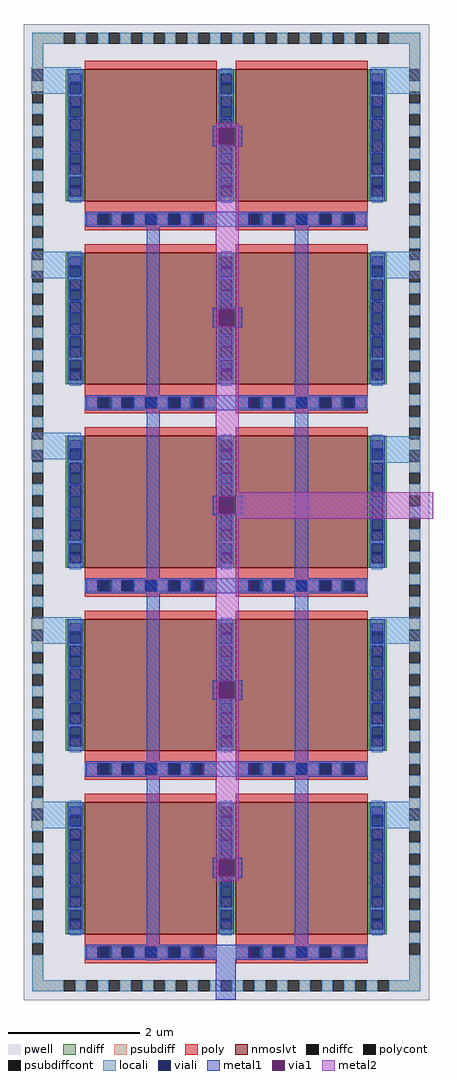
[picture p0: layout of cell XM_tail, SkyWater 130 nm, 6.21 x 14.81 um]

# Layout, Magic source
magic
tech sky130A
magscale 1 2
<< locali >>
rect -20 2710 130 2790
rect 1010 2710 1160 2790
rect -20 2150 130 2230
rect 1010 2150 1160 2230
rect -20 1600 130 1680
rect 1010 1590 1160 1670
rect -20 1040 130 1120
rect 1010 1040 1160 1120
rect -20 480 130 560
rect 1010 480 1160 560
<< metal1 >>
rect 530 2606 620 2610
rect 530 2554 549 2606
rect 601 2554 620 2606
rect 530 2550 620 2554
rect 330 80 370 2350
rect 537 2305 607 2351
rect 530 2056 620 2060
rect 530 2004 549 2056
rect 601 2004 620 2056
rect 530 2000 620 2004
rect 537 1749 607 1795
rect 530 1486 620 1490
rect 530 1434 549 1486
rect 601 1434 620 1486
rect 530 1430 620 1434
rect 537 1193 607 1239
rect 530 926 620 930
rect 530 874 549 926
rect 601 874 620 926
rect 530 870 620 874
rect 537 637 607 683
rect 530 386 620 390
rect 530 334 549 386
rect 601 334 620 386
rect 530 330 620 334
rect 537 81 607 127
rect 540 -40 600 81
rect 780 80 820 2350
<< via1 >>
rect 549 2554 601 2606
rect 549 2004 601 2056
rect 549 1434 601 1486
rect 549 874 601 926
rect 549 334 601 386
<< metal2 >>
rect 540 2606 610 2620
rect 540 2554 549 2606
rect 601 2554 610 2606
rect 540 2056 610 2554
rect 540 2004 549 2056
rect 601 2004 610 2056
rect 540 1500 610 2004
rect 540 1486 1200 1500
rect 540 1434 549 1486
rect 601 1434 1200 1486
rect 540 1420 1200 1434
rect 540 926 610 1420
rect 540 874 549 926
rect 601 874 610 926
rect 540 386 610 874
rect 540 334 549 386
rect 601 334 610 386
rect 540 320 610 334
use sky130_fd_pr__nfet_01v8_lvt_7MFZYU  sky130_fd_pr__nfet_01v8_lvt_7MFZYU_0
transform 1 0 572 0 1 1440
box -615 -1481 615 1481
<< end >>

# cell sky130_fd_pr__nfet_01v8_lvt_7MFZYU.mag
magic
tech sky130A
magscale 1 2
<< pwell >>
rect -615 -1481 615 1481
<< nmoslvt >>
rect -429 943 -29 1343
rect 29 943 429 1343
rect -429 387 -29 787
rect 29 387 429 787
rect -429 -169 -29 231
rect 29 -169 429 231
rect -429 -725 -29 -325
rect 29 -725 429 -325
rect -429 -1281 -29 -881
rect 29 -1281 429 -881
<< ndiff >>
rect -487 1330 -429 1343
rect -487 1296 -475 1330
rect -441 1296 -429 1330
rect -487 1262 -429 1296
rect -487 1228 -475 1262
rect -441 1228 -429 1262
rect -487 1194 -429 1228
rect -487 1160 -475 1194
rect -441 1160 -429 1194
rect -487 1126 -429 1160
rect -487 1092 -475 1126
rect -441 1092 -429 1126
rect -487 1058 -429 1092
rect -487 1024 -475 1058
rect -441 1024 -429 1058
rect -487 990 -429 1024
rect -487 956 -475 990
rect -441 956 -429 990
rect -487 943 -429 956
rect -29 1330 29 1343
rect -29 1296 -17 1330
rect 17 1296 29 1330
rect -29 1262 29 1296
rect -29 1228 -17 1262
rect 17 1228 29 1262
rect -29 1194 29 1228
rect -29 1160 -17 1194
rect 17 1160 29 1194
rect -29 1126 29 1160
rect -29 1092 -17 1126
rect 17 1092 29 1126
rect -29 1058 29 1092
rect -29 1024 -17 1058
rect 17 1024 29 1058
rect -29 990 29 1024
rect -29 956 -17 990
rect 17 956 29 990
rect -29 943 29 956
rect 429 1330 487 1343
rect 429 1296 441 1330
rect 475 1296 487 1330
rect 429 1262 487 1296
rect 429 1228 441 1262
rect 475 1228 487 1262
rect 429 1194 487 1228
rect 429 1160 441 1194
rect 475 1160 487 1194
rect 429 1126 487 1160
rect 429 1092 441 1126
rect 475 1092 487 1126
rect 429 1058 487 1092
rect 429 1024 441 1058
rect 475 1024 487 1058
rect 429 990 487 1024
rect 429 956 441 990
rect 475 956 487 990
rect 429 943 487 956
rect -487 774 -429 787
rect -487 740 -475 774
rect -441 740 -429 774
rect -487 706 -429 740
rect -487 672 -475 706
rect -441 672 -429 706
rect -487 638 -429 672
rect -487 604 -475 638
rect -441 604 -429 638
rect -487 570 -429 604
rect -487 536 -475 570
rect -441 536 -429 570
rect -487 502 -429 536
rect -487 468 -475 502
rect -441 468 -429 502
rect -487 434 -429 468
rect -487 400 -475 434
rect -441 400 -429 434
rect -487 387 -429 400
rect -29 774 29 787
rect -29 740 -17 774
rect 17 740 29 774
rect -29 706 29 740
rect -29 672 -17 706
rect 17 672 29 706
rect -29 638 29 672
rect -29 604 -17 638
rect 17 604 29 638
rect -29 570 29 604
rect -29 536 -17 570
rect 17 536 29 570
rect -29 502 29 536
rect -29 468 -17 502
rect 17 468 29 502
rect -29 434 29 468
rect -29 400 -17 434
rect 17 400 29 434
rect -29 387 29 400
rect 429 774 487 787
rect 429 740 441 774
rect 475 740 487 774
rect 429 706 487 740
rect 429 672 441 706
rect 475 672 487 706
rect 429 638 487 672
rect 429 604 441 638
rect 475 604 487 638
rect 429 570 487 604
rect 429 536 441 570
rect 475 536 487 570
rect 429 502 487 536
rect 429 468 441 502
rect 475 468 487 502
rect 429 434 487 468
rect 429 400 441 434
rect 475 400 487 434
rect 429 387 487 400
rect -487 218 -429 231
rect -487 184 -475 218
rect -441 184 -429 218
rect -487 150 -429 184
rect -487 116 -475 150
rect -441 116 -429 150
rect -487 82 -429 116
rect -487 48 -475 82
rect -441 48 -429 82
rect -487 14 -429 48
rect -487 -20 -475 14
rect -441 -20 -429 14
rect -487 -54 -429 -20
rect -487 -88 -475 -54
rect -441 -88 -429 -54
rect -487 -122 -429 -88
rect -487 -156 -475 -122
rect -441 -156 -429 -122
rect -487 -169 -429 -156
rect -29 218 29 231
rect -29 184 -17 218
rect 17 184 29 218
rect -29 150 29 184
rect -29 116 -17 150
rect 17 116 29 150
rect -29 82 29 116
rect -29 48 -17 82
rect 17 48 29 82
rect -29 14 29 48
rect -29 -20 -17 14
rect 17 -20 29 14
rect -29 -54 29 -20
rect -29 -88 -17 -54
rect 17 -88 29 -54
rect -29 -122 29 -88
rect -29 -156 -17 -122
rect 17 -156 29 -122
rect -29 -169 29 -156
rect 429 218 487 231
rect 429 184 441 218
rect 475 184 487 218
rect 429 150 487 184
rect 429 116 441 150
rect 475 116 487 150
rect 429 82 487 116
rect 429 48 441 82
rect 475 48 487 82
rect 429 14 487 48
rect 429 -20 441 14
rect 475 -20 487 14
rect 429 -54 487 -20
rect 429 -88 441 -54
rect 475 -88 487 -54
rect 429 -122 487 -88
rect 429 -156 441 -122
rect 475 -156 487 -122
rect 429 -169 487 -156
rect -487 -338 -429 -325
rect -487 -372 -475 -338
rect -441 -372 -429 -338
rect -487 -406 -429 -372
rect -487 -440 -475 -406
rect -441 -440 -429 -406
rect -487 -474 -429 -440
rect -487 -508 -475 -474
rect -441 -508 -429 -474
rect -487 -542 -429 -508
rect -487 -576 -475 -542
rect -441 -576 -429 -542
rect -487 -610 -429 -576
rect -487 -644 -475 -610
rect -441 -644 -429 -610
rect -487 -678 -429 -644
rect -487 -712 -475 -678
rect -441 -712 -429 -678
rect -487 -725 -429 -712
rect -29 -338 29 -325
rect -29 -372 -17 -338
rect 17 -372 29 -338
rect -29 -406 29 -372
rect -29 -440 -17 -406
rect 17 -440 29 -406
rect -29 -474 29 -440
rect -29 -508 -17 -474
rect 17 -508 29 -474
rect -29 -542 29 -508
rect -29 -576 -17 -542
rect 17 -576 29 -542
rect -29 -610 29 -576
rect -29 -644 -17 -610
rect 17 -644 29 -610
rect -29 -678 29 -644
rect -29 -712 -17 -678
rect 17 -712 29 -678
rect -29 -725 29 -712
rect 429 -338 487 -325
rect 429 -372 441 -338
rect 475 -372 487 -338
rect 429 -406 487 -372
rect 429 -440 441 -406
rect 475 -440 487 -406
rect 429 -474 487 -440
rect 429 -508 441 -474
rect 475 -508 487 -474
rect 429 -542 487 -508
rect 429 -576 441 -542
rect 475 -576 487 -542
rect 429 -610 487 -576
rect 429 -644 441 -610
rect 475 -644 487 -610
rect 429 -678 487 -644
rect 429 -712 441 -678
rect 475 -712 487 -678
rect 429 -725 487 -712
rect -487 -894 -429 -881
rect -487 -928 -475 -894
rect -441 -928 -429 -894
rect -487 -962 -429 -928
rect -487 -996 -475 -962
rect -441 -996 -429 -962
rect -487 -1030 -429 -996
rect -487 -1064 -475 -1030
rect -441 -1064 -429 -1030
rect -487 -1098 -429 -1064
rect -487 -1132 -475 -1098
rect -441 -1132 -429 -1098
rect -487 -1166 -429 -1132
rect -487 -1200 -475 -1166
rect -441 -1200 -429 -1166
rect -487 -1234 -429 -1200
rect -487 -1268 -475 -1234
rect -441 -1268 -429 -1234
rect -487 -1281 -429 -1268
rect -29 -894 29 -881
rect -29 -928 -17 -894
rect 17 -928 29 -894
rect -29 -962 29 -928
rect -29 -996 -17 -962
rect 17 -996 29 -962
rect -29 -1030 29 -996
rect -29 -1064 -17 -1030
rect 17 -1064 29 -1030
rect -29 -1098 29 -1064
rect -29 -1132 -17 -1098
rect 17 -1132 29 -1098
rect -29 -1166 29 -1132
rect -29 -1200 -17 -1166
rect 17 -1200 29 -1166
rect -29 -1234 29 -1200
rect -29 -1268 -17 -1234
rect 17 -1268 29 -1234
rect -29 -1281 29 -1268
rect 429 -894 487 -881
rect 429 -928 441 -894
rect 475 -928 487 -894
rect 429 -962 487 -928
rect 429 -996 441 -962
rect 475 -996 487 -962
rect 429 -1030 487 -996
rect 429 -1064 441 -1030
rect 475 -1064 487 -1030
rect 429 -1098 487 -1064
rect 429 -1132 441 -1098
rect 475 -1132 487 -1098
rect 429 -1166 487 -1132
rect 429 -1200 441 -1166
rect 475 -1200 487 -1166
rect 429 -1234 487 -1200
rect 429 -1268 441 -1234
rect 475 -1268 487 -1234
rect 429 -1281 487 -1268
<< ndiffc >>
rect -475 1296 -441 1330
rect -475 1228 -441 1262
rect -475 1160 -441 1194
rect -475 1092 -441 1126
rect -475 1024 -441 1058
rect -475 956 -441 990
rect -17 1296 17 1330
rect -17 1228 17 1262
rect -17 1160 17 1194
rect -17 1092 17 1126
rect -17 1024 17 1058
rect -17 956 17 990
rect 441 1296 475 1330
rect 441 1228 475 1262
rect 441 1160 475 1194
rect 441 1092 475 1126
rect 441 1024 475 1058
rect 441 956 475 990
rect -475 740 -441 774
rect -475 672 -441 706
rect -475 604 -441 638
rect -475 536 -441 570
rect -475 468 -441 502
rect -475 400 -441 434
rect -17 740 17 774
rect -17 672 17 706
rect -17 604 17 638
rect -17 536 17 570
rect -17 468 17 502
rect -17 400 17 434
rect 441 740 475 774
rect 441 672 475 706
rect 441 604 475 638
rect 441 536 475 570
rect 441 468 475 502
rect 441 400 475 434
rect -475 184 -441 218
rect -475 116 -441 150
rect -475 48 -441 82
rect -475 -20 -441 14
rect -475 -88 -441 -54
rect -475 -156 -441 -122
rect -17 184 17 218
rect -17 116 17 150
rect -17 48 17 82
rect -17 -20 17 14
rect -17 -88 17 -54
rect -17 -156 17 -122
rect 441 184 475 218
rect 441 116 475 150
rect 441 48 475 82
rect 441 -20 475 14
rect 441 -88 475 -54
rect 441 -156 475 -122
rect -475 -372 -441 -338
rect -475 -440 -441 -406
rect -475 -508 -441 -474
rect -475 -576 -441 -542
rect -475 -644 -441 -610
rect -475 -712 -441 -678
rect -17 -372 17 -338
rect -17 -440 17 -406
rect -17 -508 17 -474
rect -17 -576 17 -542
rect -17 -644 17 -610
rect -17 -712 17 -678
rect 441 -372 475 -338
rect 441 -440 475 -406
rect 441 -508 475 -474
rect 441 -576 475 -542
rect 441 -644 475 -610
rect 441 -712 475 -678
rect -475 -928 -441 -894
rect -475 -996 -441 -962
rect -475 -1064 -441 -1030
rect -475 -1132 -441 -1098
rect -475 -1200 -441 -1166
rect -475 -1268 -441 -1234
rect -17 -928 17 -894
rect -17 -996 17 -962
rect -17 -1064 17 -1030
rect -17 -1132 17 -1098
rect -17 -1200 17 -1166
rect -17 -1268 17 -1234
rect 441 -928 475 -894
rect 441 -996 475 -962
rect 441 -1064 475 -1030
rect 441 -1132 475 -1098
rect 441 -1200 475 -1166
rect 441 -1268 475 -1234
<< psubdiff >>
rect -589 1421 -493 1455
rect -459 1421 -425 1455
rect -391 1421 -357 1455
rect -323 1421 -289 1455
rect -255 1421 -221 1455
rect -187 1421 -153 1455
rect -119 1421 -85 1455
rect -51 1421 -17 1455
rect 17 1421 51 1455
rect 85 1421 119 1455
rect 153 1421 187 1455
rect 221 1421 255 1455
rect 289 1421 323 1455
rect 357 1421 391 1455
rect 425 1421 459 1455
rect 493 1421 589 1455
rect -589 1343 -555 1421
rect 555 1343 589 1421
rect -589 1275 -555 1309
rect -589 1207 -555 1241
rect -589 1139 -555 1173
rect -589 1071 -555 1105
rect -589 1003 -555 1037
rect -589 935 -555 969
rect 555 1275 589 1309
rect 555 1207 589 1241
rect 555 1139 589 1173
rect 555 1071 589 1105
rect 555 1003 589 1037
rect -589 867 -555 901
rect 555 935 589 969
rect 555 867 589 901
rect -589 799 -555 833
rect 555 799 589 833
rect -589 731 -555 765
rect -589 663 -555 697
rect -589 595 -555 629
rect -589 527 -555 561
rect -589 459 -555 493
rect -589 391 -555 425
rect 555 731 589 765
rect 555 663 589 697
rect 555 595 589 629
rect 555 527 589 561
rect 555 459 589 493
rect 555 391 589 425
rect -589 323 -555 357
rect 555 323 589 357
rect -589 255 -555 289
rect 555 255 589 289
rect -589 187 -555 221
rect -589 119 -555 153
rect -589 51 -555 85
rect -589 -17 -555 17
rect -589 -85 -555 -51
rect -589 -153 -555 -119
rect 555 187 589 221
rect 555 119 589 153
rect 555 51 589 85
rect 555 -17 589 17
rect 555 -85 589 -51
rect 555 -153 589 -119
rect -589 -221 -555 -187
rect -589 -289 -555 -255
rect 555 -221 589 -187
rect 555 -289 589 -255
rect -589 -357 -555 -323
rect -589 -425 -555 -391
rect -589 -493 -555 -459
rect -589 -561 -555 -527
rect -589 -629 -555 -595
rect -589 -697 -555 -663
rect 555 -357 589 -323
rect 555 -425 589 -391
rect 555 -493 589 -459
rect 555 -561 589 -527
rect 555 -629 589 -595
rect 555 -697 589 -663
rect -589 -765 -555 -731
rect -589 -833 -555 -799
rect 555 -765 589 -731
rect 555 -833 589 -799
rect -589 -901 -555 -867
rect -589 -969 -555 -935
rect -589 -1037 -555 -1003
rect -589 -1105 -555 -1071
rect -589 -1173 -555 -1139
rect -589 -1241 -555 -1207
rect -589 -1309 -555 -1275
rect 555 -901 589 -867
rect 555 -969 589 -935
rect 555 -1037 589 -1003
rect 555 -1105 589 -1071
rect 555 -1173 589 -1139
rect 555 -1241 589 -1207
rect -589 -1421 -555 -1343
rect 555 -1309 589 -1275
rect 555 -1421 589 -1343
rect -589 -1455 -493 -1421
rect -459 -1455 -425 -1421
rect -391 -1455 -357 -1421
rect -323 -1455 -289 -1421
rect -255 -1455 -221 -1421
rect -187 -1455 -153 -1421
rect -119 -1455 -85 -1421
rect -51 -1455 -17 -1421
rect 17 -1455 51 -1421
rect 85 -1455 119 -1421
rect 153 -1455 187 -1421
rect 221 -1455 255 -1421
rect 289 -1455 323 -1421
rect 357 -1455 391 -1421
rect 425 -1455 459 -1421
rect 493 -1455 589 -1421
<< psubdiffcont >>
rect -493 1421 -459 1455
rect -425 1421 -391 1455
rect -357 1421 -323 1455
rect -289 1421 -255 1455
rect -221 1421 -187 1455
rect -153 1421 -119 1455
rect -85 1421 -51 1455
rect -17 1421 17 1455
rect 51 1421 85 1455
rect 119 1421 153 1455
rect 187 1421 221 1455
rect 255 1421 289 1455
rect 323 1421 357 1455
rect 391 1421 425 1455
rect 459 1421 493 1455
rect -589 1309 -555 1343
rect -589 1241 -555 1275
rect -589 1173 -555 1207
rect -589 1105 -555 1139
rect -589 1037 -555 1071
rect -589 969 -555 1003
rect 555 1309 589 1343
rect 555 1241 589 1275
rect 555 1173 589 1207
rect 555 1105 589 1139
rect 555 1037 589 1071
rect 555 969 589 1003
rect -589 901 -555 935
rect -589 833 -555 867
rect 555 901 589 935
rect 555 833 589 867
rect -589 765 -555 799
rect -589 697 -555 731
rect -589 629 -555 663
rect -589 561 -555 595
rect -589 493 -555 527
rect -589 425 -555 459
rect -589 357 -555 391
rect 555 765 589 799
rect 555 697 589 731
rect 555 629 589 663
rect 555 561 589 595
rect 555 493 589 527
rect 555 425 589 459
rect -589 289 -555 323
rect 555 357 589 391
rect 555 289 589 323
rect -589 221 -555 255
rect -589 153 -555 187
rect -589 85 -555 119
rect -589 17 -555 51
rect -589 -51 -555 -17
rect -589 -119 -555 -85
rect -589 -187 -555 -153
rect 555 221 589 255
rect 555 153 589 187
rect 555 85 589 119
rect 555 17 589 51
rect 555 -51 589 -17
rect 555 -119 589 -85
rect -589 -255 -555 -221
rect 555 -187 589 -153
rect 555 -255 589 -221
rect -589 -323 -555 -289
rect 555 -323 589 -289
rect -589 -391 -555 -357
rect -589 -459 -555 -425
rect -589 -527 -555 -493
rect -589 -595 -555 -561
rect -589 -663 -555 -629
rect -589 -731 -555 -697
rect 555 -391 589 -357
rect 555 -459 589 -425
rect 555 -527 589 -493
rect 555 -595 589 -561
rect 555 -663 589 -629
rect -589 -799 -555 -765
rect 555 -731 589 -697
rect 555 -799 589 -765
rect -589 -867 -555 -833
rect 555 -867 589 -833
rect -589 -935 -555 -901
rect -589 -1003 -555 -969
rect -589 -1071 -555 -1037
rect -589 -1139 -555 -1105
rect -589 -1207 -555 -1173
rect -589 -1275 -555 -1241
rect 555 -935 589 -901
rect 555 -1003 589 -969
rect 555 -1071 589 -1037
rect 555 -1139 589 -1105
rect 555 -1207 589 -1173
rect 555 -1275 589 -1241
rect -589 -1343 -555 -1309
rect 555 -1343 589 -1309
rect -493 -1455 -459 -1421
rect -425 -1455 -391 -1421
rect -357 -1455 -323 -1421
rect -289 -1455 -255 -1421
rect -221 -1455 -187 -1421
rect -153 -1455 -119 -1421
rect -85 -1455 -51 -1421
rect -17 -1455 17 -1421
rect 51 -1455 85 -1421
rect 119 -1455 153 -1421
rect 187 -1455 221 -1421
rect 255 -1455 289 -1421
rect 323 -1455 357 -1421
rect 391 -1455 425 -1421
rect 459 -1455 493 -1421
<< poly >>
rect -429 1343 -29 1369
rect 29 1343 429 1369
rect -429 905 -29 943
rect -429 871 -382 905
rect -348 871 -314 905
rect -280 871 -246 905
rect -212 871 -178 905
rect -144 871 -110 905
rect -76 871 -29 905
rect -429 855 -29 871
rect 29 905 429 943
rect 29 871 76 905
rect 110 871 144 905
rect 178 871 212 905
rect 246 871 280 905
rect 314 871 348 905
rect 382 871 429 905
rect 29 855 429 871
rect -429 787 -29 813
rect 29 787 429 813
rect -429 349 -29 387
rect -429 315 -382 349
rect -348 315 -314 349
rect -280 315 -246 349
rect -212 315 -178 349
rect -144 315 -110 349
rect -76 315 -29 349
rect -429 299 -29 315
rect 29 349 429 387
rect 29 315 76 349
rect 110 315 144 349
rect 178 315 212 349
rect 246 315 280 349
rect 314 315 348 349
rect 382 315 429 349
rect 29 299 429 315
rect -429 231 -29 257
rect 29 231 429 257
rect -429 -207 -29 -169
rect -429 -241 -382 -207
rect -348 -241 -314 -207
rect -280 -241 -246 -207
rect -212 -241 -178 -207
rect -144 -241 -110 -207
rect -76 -241 -29 -207
rect -429 -257 -29 -241
rect 29 -207 429 -169
rect 29 -241 76 -207
rect 110 -241 144 -207
rect 178 -241 212 -207
rect 246 -241 280 -207
rect 314 -241 348 -207
rect 382 -241 429 -207
rect 29 -257 429 -241
rect -429 -325 -29 -299
rect 29 -325 429 -299
rect -429 -763 -29 -725
rect -429 -797 -382 -763
rect -348 -797 -314 -763
rect -280 -797 -246 -763
rect -212 -797 -178 -763
rect -144 -797 -110 -763
rect -76 -797 -29 -763
rect -429 -813 -29 -797
rect 29 -763 429 -725
rect 29 -797 76 -763
rect 110 -797 144 -763
rect 178 -797 212 -763
rect 246 -797 280 -763
rect 314 -797 348 -763
rect 382 -797 429 -763
rect 29 -813 429 -797
rect -429 -881 -29 -855
rect 29 -881 429 -855
rect -429 -1319 -29 -1281
rect -429 -1353 -382 -1319
rect -348 -1353 -314 -1319
rect -280 -1353 -246 -1319
rect -212 -1353 -178 -1319
rect -144 -1353 -110 -1319
rect -76 -1353 -29 -1319
rect -429 -1369 -29 -1353
rect 29 -1319 429 -1281
rect 29 -1353 76 -1319
rect 110 -1353 144 -1319
rect 178 -1353 212 -1319
rect 246 -1353 280 -1319
rect 314 -1353 348 -1319
rect 382 -1353 429 -1319
rect 29 -1369 429 -1353
<< polycont >>
rect -382 871 -348 905
rect -314 871 -280 905
rect -246 871 -212 905
rect -178 871 -144 905
rect -110 871 -76 905
rect 76 871 110 905
rect 144 871 178 905
rect 212 871 246 905
rect 280 871 314 905
rect 348 871 382 905
rect -382 315 -348 349
rect -314 315 -280 349
rect -246 315 -212 349
rect -178 315 -144 349
rect -110 315 -76 349
rect 76 315 110 349
rect 144 315 178 349
rect 212 315 246 349
rect 280 315 314 349
rect 348 315 382 349
rect -382 -241 -348 -207
rect -314 -241 -280 -207
rect -246 -241 -212 -207
rect -178 -241 -144 -207
rect -110 -241 -76 -207
rect 76 -241 110 -207
rect 144 -241 178 -207
rect 212 -241 246 -207
rect 280 -241 314 -207
rect 348 -241 382 -207
rect -382 -797 -348 -763
rect -314 -797 -280 -763
rect -246 -797 -212 -763
rect -178 -797 -144 -763
rect -110 -797 -76 -763
rect 76 -797 110 -763
rect 144 -797 178 -763
rect 212 -797 246 -763
rect 280 -797 314 -763
rect 348 -797 382 -763
rect -382 -1353 -348 -1319
rect -314 -1353 -280 -1319
rect -246 -1353 -212 -1319
rect -178 -1353 -144 -1319
rect -110 -1353 -76 -1319
rect 76 -1353 110 -1319
rect 144 -1353 178 -1319
rect 212 -1353 246 -1319
rect 280 -1353 314 -1319
rect 348 -1353 382 -1319
<< locali >>
rect -589 1421 -493 1455
rect -459 1421 -425 1455
rect -391 1421 -357 1455
rect -323 1421 -289 1455
rect -255 1421 -221 1455
rect -187 1421 -153 1455
rect -119 1421 -85 1455
rect -51 1421 -17 1455
rect 17 1421 51 1455
rect 85 1421 119 1455
rect 153 1421 187 1455
rect 221 1421 255 1455
rect 289 1421 323 1455
rect 357 1421 391 1455
rect 425 1421 459 1455
rect 493 1421 589 1455
rect -589 1343 -555 1421
rect -589 1275 -555 1309
rect -589 1207 -555 1241
rect -589 1139 -555 1173
rect -589 1071 -555 1105
rect -589 1003 -555 1037
rect -589 935 -555 969
rect -475 1330 -441 1347
rect -475 1262 -441 1270
rect -475 1194 -441 1198
rect -475 1088 -441 1092
rect -475 1016 -441 1024
rect -475 939 -441 956
rect -17 1330 17 1347
rect -17 1262 17 1270
rect -17 1194 17 1198
rect -17 1088 17 1092
rect -17 1016 17 1024
rect -17 939 17 956
rect 441 1330 475 1347
rect 441 1262 475 1270
rect 441 1194 475 1198
rect 441 1088 475 1092
rect 441 1016 475 1024
rect 441 939 475 956
rect 555 1343 589 1421
rect 555 1275 589 1309
rect 555 1207 589 1241
rect 555 1139 589 1173
rect 555 1071 589 1105
rect 555 1003 589 1037
rect 555 935 589 969
rect -589 867 -555 901
rect -429 871 -390 905
rect -348 871 -318 905
rect -280 871 -246 905
rect -212 871 -178 905
rect -140 871 -110 905
rect -68 871 -29 905
rect 29 871 68 905
rect 110 871 140 905
rect 178 871 212 905
rect 246 871 280 905
rect 318 871 348 905
rect 390 871 429 905
rect -589 799 -555 833
rect 555 867 589 901
rect 555 799 589 833
rect -589 731 -555 765
rect -589 663 -555 697
rect -589 595 -555 629
rect -589 527 -555 561
rect -589 459 -555 493
rect -589 391 -555 425
rect -475 774 -441 791
rect -475 706 -441 714
rect -475 638 -441 642
rect -475 532 -441 536
rect -475 460 -441 468
rect -475 383 -441 400
rect -17 774 17 791
rect -17 706 17 714
rect -17 638 17 642
rect -17 532 17 536
rect -17 460 17 468
rect -17 383 17 400
rect 441 774 475 791
rect 441 706 475 714
rect 441 638 475 642
rect 441 532 475 536
rect 441 460 475 468
rect 441 383 475 400
rect 555 731 589 765
rect 555 663 589 697
rect 555 595 589 629
rect 555 527 589 561
rect 555 459 589 493
rect 555 391 589 425
rect -589 323 -555 357
rect -429 315 -390 349
rect -348 315 -318 349
rect -280 315 -246 349
rect -212 315 -178 349
rect -140 315 -110 349
rect -68 315 -29 349
rect 29 315 68 349
rect 110 315 140 349
rect 178 315 212 349
rect 246 315 280 349
rect 318 315 348 349
rect 390 315 429 349
rect 555 323 589 357
rect -589 255 -555 289
rect 555 255 589 289
rect -589 187 -555 221
rect -589 119 -555 153
rect -589 51 -555 85
rect -589 -17 -555 17
rect -589 -85 -555 -51
rect -589 -153 -555 -119
rect -475 218 -441 235
rect -475 150 -441 158
rect -475 82 -441 86
rect -475 -24 -441 -20
rect -475 -96 -441 -88
rect -475 -173 -441 -156
rect -17 218 17 235
rect -17 150 17 158
rect -17 82 17 86
rect -17 -24 17 -20
rect -17 -96 17 -88
rect -17 -173 17 -156
rect 441 218 475 235
rect 441 150 475 158
rect 441 82 475 86
rect 441 -24 475 -20
rect 441 -96 475 -88
rect 441 -173 475 -156
rect 555 187 589 221
rect 555 119 589 153
rect 555 51 589 85
rect 555 -17 589 17
rect 555 -85 589 -51
rect 555 -153 589 -119
rect -589 -221 -555 -187
rect -429 -241 -390 -207
rect -348 -241 -318 -207
rect -280 -241 -246 -207
rect -212 -241 -178 -207
rect -140 -241 -110 -207
rect -68 -241 -29 -207
rect 29 -241 68 -207
rect 110 -241 140 -207
rect 178 -241 212 -207
rect 246 -241 280 -207
rect 318 -241 348 -207
rect 390 -241 429 -207
rect 555 -221 589 -187
rect -589 -289 -555 -255
rect 555 -289 589 -255
rect -589 -357 -555 -323
rect -589 -425 -555 -391
rect -589 -493 -555 -459
rect -589 -561 -555 -527
rect -589 -629 -555 -595
rect -589 -697 -555 -663
rect -475 -338 -441 -321
rect -475 -406 -441 -398
rect -475 -474 -441 -470
rect -475 -580 -441 -576
rect -475 -652 -441 -644
rect -475 -729 -441 -712
rect -17 -338 17 -321
rect -17 -406 17 -398
rect -17 -474 17 -470
rect -17 -580 17 -576
rect -17 -652 17 -644
rect -17 -729 17 -712
rect 441 -338 475 -321
rect 441 -406 475 -398
rect 441 -474 475 -470
rect 441 -580 475 -576
rect 441 -652 475 -644
rect 441 -729 475 -712
rect 555 -357 589 -323
rect 555 -425 589 -391
rect 555 -493 589 -459
rect 555 -561 589 -527
rect 555 -629 589 -595
rect 555 -697 589 -663
rect -589 -765 -555 -731
rect -429 -797 -390 -763
rect -348 -797 -318 -763
rect -280 -797 -246 -763
rect -212 -797 -178 -763
rect -140 -797 -110 -763
rect -68 -797 -29 -763
rect 29 -797 68 -763
rect 110 -797 140 -763
rect 178 -797 212 -763
rect 246 -797 280 -763
rect 318 -797 348 -763
rect 390 -797 429 -763
rect 555 -765 589 -731
rect -589 -833 -555 -799
rect -589 -901 -555 -867
rect 555 -833 589 -799
rect -589 -969 -555 -935
rect -589 -1037 -555 -1003
rect -589 -1105 -555 -1071
rect -589 -1173 -555 -1139
rect -589 -1241 -555 -1207
rect -589 -1309 -555 -1275
rect -475 -894 -441 -877
rect -475 -962 -441 -954
rect -475 -1030 -441 -1026
rect -475 -1136 -441 -1132
rect -475 -1208 -441 -1200
rect -475 -1285 -441 -1268
rect -17 -894 17 -877
rect -17 -962 17 -954
rect -17 -1030 17 -1026
rect -17 -1136 17 -1132
rect -17 -1208 17 -1200
rect -17 -1285 17 -1268
rect 441 -894 475 -877
rect 441 -962 475 -954
rect 441 -1030 475 -1026
rect 441 -1136 475 -1132
rect 441 -1208 475 -1200
rect 441 -1285 475 -1268
rect 555 -901 589 -867
rect 555 -969 589 -935
rect 555 -1037 589 -1003
rect 555 -1105 589 -1071
rect 555 -1173 589 -1139
rect 555 -1241 589 -1207
rect 555 -1309 589 -1275
rect -589 -1421 -555 -1343
rect -429 -1353 -390 -1319
rect -348 -1353 -318 -1319
rect -280 -1353 -246 -1319
rect -212 -1353 -178 -1319
rect -140 -1353 -110 -1319
rect -68 -1353 -29 -1319
rect 29 -1353 68 -1319
rect 110 -1353 140 -1319
rect 178 -1353 212 -1319
rect 246 -1353 280 -1319
rect 318 -1353 348 -1319
rect 390 -1353 429 -1319
rect 555 -1421 589 -1343
rect -589 -1455 -493 -1421
rect -459 -1455 -425 -1421
rect -391 -1455 -357 -1421
rect -323 -1455 -289 -1421
rect -255 -1455 -221 -1421
rect -187 -1455 -153 -1421
rect -119 -1455 -85 -1421
rect -51 -1455 -17 -1421
rect 17 -1455 51 -1421
rect 85 -1455 119 -1421
rect 153 -1455 187 -1421
rect 221 -1455 255 -1421
rect 289 -1455 323 -1421
rect 357 -1455 391 -1421
rect 425 -1455 459 -1421
rect 493 -1455 589 -1421
<< viali >>
rect -475 1296 -441 1304
rect -475 1270 -441 1296
rect -475 1228 -441 1232
rect -475 1198 -441 1228
rect -475 1126 -441 1160
rect -475 1058 -441 1088
rect -475 1054 -441 1058
rect -475 990 -441 1016
rect -475 982 -441 990
rect -17 1296 17 1304
rect -17 1270 17 1296
rect -17 1228 17 1232
rect -17 1198 17 1228
rect -17 1126 17 1160
rect -17 1058 17 1088
rect -17 1054 17 1058
rect -17 990 17 1016
rect -17 982 17 990
rect 441 1296 475 1304
rect 441 1270 475 1296
rect 441 1228 475 1232
rect 441 1198 475 1228
rect 441 1126 475 1160
rect 441 1058 475 1088
rect 441 1054 475 1058
rect 441 990 475 1016
rect 441 982 475 990
rect -390 871 -382 905
rect -382 871 -356 905
rect -318 871 -314 905
rect -314 871 -284 905
rect -246 871 -212 905
rect -174 871 -144 905
rect -144 871 -140 905
rect -102 871 -76 905
rect -76 871 -68 905
rect 68 871 76 905
rect 76 871 102 905
rect 140 871 144 905
rect 144 871 174 905
rect 212 871 246 905
rect 284 871 314 905
rect 314 871 318 905
rect 356 871 382 905
rect 382 871 390 905
rect -475 740 -441 748
rect -475 714 -441 740
rect -475 672 -441 676
rect -475 642 -441 672
rect -475 570 -441 604
rect -475 502 -441 532
rect -475 498 -441 502
rect -475 434 -441 460
rect -475 426 -441 434
rect -17 740 17 748
rect -17 714 17 740
rect -17 672 17 676
rect -17 642 17 672
rect -17 570 17 604
rect -17 502 17 532
rect -17 498 17 502
rect -17 434 17 460
rect -17 426 17 434
rect 441 740 475 748
rect 441 714 475 740
rect 441 672 475 676
rect 441 642 475 672
rect 441 570 475 604
rect 441 502 475 532
rect 441 498 475 502
rect 441 434 475 460
rect 441 426 475 434
rect -390 315 -382 349
rect -382 315 -356 349
rect -318 315 -314 349
rect -314 315 -284 349
rect -246 315 -212 349
rect -174 315 -144 349
rect -144 315 -140 349
rect -102 315 -76 349
rect -76 315 -68 349
rect 68 315 76 349
rect 76 315 102 349
rect 140 315 144 349
rect 144 315 174 349
rect 212 315 246 349
rect 284 315 314 349
rect 314 315 318 349
rect 356 315 382 349
rect 382 315 390 349
rect -475 184 -441 192
rect -475 158 -441 184
rect -475 116 -441 120
rect -475 86 -441 116
rect -475 14 -441 48
rect -475 -54 -441 -24
rect -475 -58 -441 -54
rect -475 -122 -441 -96
rect -475 -130 -441 -122
rect -17 184 17 192
rect -17 158 17 184
rect -17 116 17 120
rect -17 86 17 116
rect -17 14 17 48
rect -17 -54 17 -24
rect -17 -58 17 -54
rect -17 -122 17 -96
rect -17 -130 17 -122
rect 441 184 475 192
rect 441 158 475 184
rect 441 116 475 120
rect 441 86 475 116
rect 441 14 475 48
rect 441 -54 475 -24
rect 441 -58 475 -54
rect 441 -122 475 -96
rect 441 -130 475 -122
rect -390 -241 -382 -207
rect -382 -241 -356 -207
rect -318 -241 -314 -207
rect -314 -241 -284 -207
rect -246 -241 -212 -207
rect -174 -241 -144 -207
rect -144 -241 -140 -207
rect -102 -241 -76 -207
rect -76 -241 -68 -207
rect 68 -241 76 -207
rect 76 -241 102 -207
rect 140 -241 144 -207
rect 144 -241 174 -207
rect 212 -241 246 -207
rect 284 -241 314 -207
rect 314 -241 318 -207
rect 356 -241 382 -207
rect 382 -241 390 -207
rect -475 -372 -441 -364
rect -475 -398 -441 -372
rect -475 -440 -441 -436
rect -475 -470 -441 -440
rect -475 -542 -441 -508
rect -475 -610 -441 -580
rect -475 -614 -441 -610
rect -475 -678 -441 -652
rect -475 -686 -441 -678
rect -17 -372 17 -364
rect -17 -398 17 -372
rect -17 -440 17 -436
rect -17 -470 17 -440
rect -17 -542 17 -508
rect -17 -610 17 -580
rect -17 -614 17 -610
rect -17 -678 17 -652
rect -17 -686 17 -678
rect 441 -372 475 -364
rect 441 -398 475 -372
rect 441 -440 475 -436
rect 441 -470 475 -440
rect 441 -542 475 -508
rect 441 -610 475 -580
rect 441 -614 475 -610
rect 441 -678 475 -652
rect 441 -686 475 -678
rect -390 -797 -382 -763
rect -382 -797 -356 -763
rect -318 -797 -314 -763
rect -314 -797 -284 -763
rect -246 -797 -212 -763
rect -174 -797 -144 -763
rect -144 -797 -140 -763
rect -102 -797 -76 -763
rect -76 -797 -68 -763
rect 68 -797 76 -763
rect 76 -797 102 -763
rect 140 -797 144 -763
rect 144 -797 174 -763
rect 212 -797 246 -763
rect 284 -797 314 -763
rect 314 -797 318 -763
rect 356 -797 382 -763
rect 382 -797 390 -763
rect -475 -928 -441 -920
rect -475 -954 -441 -928
rect -475 -996 -441 -992
rect -475 -1026 -441 -996
rect -475 -1098 -441 -1064
rect -475 -1166 -441 -1136
rect -475 -1170 -441 -1166
rect -475 -1234 -441 -1208
rect -475 -1242 -441 -1234
rect -17 -928 17 -920
rect -17 -954 17 -928
rect -17 -996 17 -992
rect -17 -1026 17 -996
rect -17 -1098 17 -1064
rect -17 -1166 17 -1136
rect -17 -1170 17 -1166
rect -17 -1234 17 -1208
rect -17 -1242 17 -1234
rect 441 -928 475 -920
rect 441 -954 475 -928
rect 441 -996 475 -992
rect 441 -1026 475 -996
rect 441 -1098 475 -1064
rect 441 -1166 475 -1136
rect 441 -1170 475 -1166
rect 441 -1234 475 -1208
rect 441 -1242 475 -1234
rect -390 -1353 -382 -1319
rect -382 -1353 -356 -1319
rect -318 -1353 -314 -1319
rect -314 -1353 -284 -1319
rect -246 -1353 -212 -1319
rect -174 -1353 -144 -1319
rect -144 -1353 -140 -1319
rect -102 -1353 -76 -1319
rect -76 -1353 -68 -1319
rect 68 -1353 76 -1319
rect 76 -1353 102 -1319
rect 140 -1353 144 -1319
rect 144 -1353 174 -1319
rect 212 -1353 246 -1319
rect 284 -1353 314 -1319
rect 314 -1353 318 -1319
rect 356 -1353 382 -1319
rect 382 -1353 390 -1319
<< metal1 >>
rect -481 1304 -435 1343
rect -481 1270 -475 1304
rect -441 1270 -435 1304
rect -481 1232 -435 1270
rect -481 1198 -475 1232
rect -441 1198 -435 1232
rect -481 1160 -435 1198
rect -481 1126 -475 1160
rect -441 1126 -435 1160
rect -481 1088 -435 1126
rect -481 1054 -475 1088
rect -441 1054 -435 1088
rect -481 1016 -435 1054
rect -481 982 -475 1016
rect -441 982 -435 1016
rect -481 943 -435 982
rect -23 1304 23 1343
rect -23 1270 -17 1304
rect 17 1270 23 1304
rect -23 1232 23 1270
rect -23 1198 -17 1232
rect 17 1198 23 1232
rect -23 1160 23 1198
rect -23 1126 -17 1160
rect 17 1126 23 1160
rect -23 1088 23 1126
rect -23 1054 -17 1088
rect 17 1054 23 1088
rect -23 1016 23 1054
rect -23 982 -17 1016
rect 17 982 23 1016
rect -23 943 23 982
rect 435 1304 481 1343
rect 435 1270 441 1304
rect 475 1270 481 1304
rect 435 1232 481 1270
rect 435 1198 441 1232
rect 475 1198 481 1232
rect 435 1160 481 1198
rect 435 1126 441 1160
rect 475 1126 481 1160
rect 435 1088 481 1126
rect 435 1054 441 1088
rect 475 1054 481 1088
rect 435 1016 481 1054
rect 435 982 441 1016
rect 475 982 481 1016
rect 435 943 481 982
rect -425 905 -33 911
rect -425 871 -390 905
rect -356 871 -318 905
rect -284 871 -246 905
rect -212 871 -174 905
rect -140 871 -102 905
rect -68 871 -33 905
rect -425 865 -33 871
rect 33 905 425 911
rect 33 871 68 905
rect 102 871 140 905
rect 174 871 212 905
rect 246 871 284 905
rect 318 871 356 905
rect 390 871 425 905
rect 33 865 425 871
rect -481 748 -435 787
rect -481 714 -475 748
rect -441 714 -435 748
rect -481 676 -435 714
rect -481 642 -475 676
rect -441 642 -435 676
rect -481 604 -435 642
rect -481 570 -475 604
rect -441 570 -435 604
rect -481 532 -435 570
rect -481 498 -475 532
rect -441 498 -435 532
rect -481 460 -435 498
rect -481 426 -475 460
rect -441 426 -435 460
rect -481 387 -435 426
rect -23 748 23 787
rect -23 714 -17 748
rect 17 714 23 748
rect -23 676 23 714
rect -23 642 -17 676
rect 17 642 23 676
rect -23 604 23 642
rect -23 570 -17 604
rect 17 570 23 604
rect -23 532 23 570
rect -23 498 -17 532
rect 17 498 23 532
rect -23 460 23 498
rect -23 426 -17 460
rect 17 426 23 460
rect -23 387 23 426
rect 435 748 481 787
rect 435 714 441 748
rect 475 714 481 748
rect 435 676 481 714
rect 435 642 441 676
rect 475 642 481 676
rect 435 604 481 642
rect 435 570 441 604
rect 475 570 481 604
rect 435 532 481 570
rect 435 498 441 532
rect 475 498 481 532
rect 435 460 481 498
rect 435 426 441 460
rect 475 426 481 460
rect 435 387 481 426
rect -425 349 -33 355
rect -425 315 -390 349
rect -356 315 -318 349
rect -284 315 -246 349
rect -212 315 -174 349
rect -140 315 -102 349
rect -68 315 -33 349
rect -425 309 -33 315
rect 33 349 425 355
rect 33 315 68 349
rect 102 315 140 349
rect 174 315 212 349
rect 246 315 284 349
rect 318 315 356 349
rect 390 315 425 349
rect 33 309 425 315
rect -481 192 -435 231
rect -481 158 -475 192
rect -441 158 -435 192
rect -481 120 -435 158
rect -481 86 -475 120
rect -441 86 -435 120
rect -481 48 -435 86
rect -481 14 -475 48
rect -441 14 -435 48
rect -481 -24 -435 14
rect -481 -58 -475 -24
rect -441 -58 -435 -24
rect -481 -96 -435 -58
rect -481 -130 -475 -96
rect -441 -130 -435 -96
rect -481 -169 -435 -130
rect -23 192 23 231
rect -23 158 -17 192
rect 17 158 23 192
rect -23 120 23 158
rect -23 86 -17 120
rect 17 86 23 120
rect -23 48 23 86
rect -23 14 -17 48
rect 17 14 23 48
rect -23 -24 23 14
rect -23 -58 -17 -24
rect 17 -58 23 -24
rect -23 -96 23 -58
rect -23 -130 -17 -96
rect 17 -130 23 -96
rect -23 -169 23 -130
rect 435 192 481 231
rect 435 158 441 192
rect 475 158 481 192
rect 435 120 481 158
rect 435 86 441 120
rect 475 86 481 120
rect 435 48 481 86
rect 435 14 441 48
rect 475 14 481 48
rect 435 -24 481 14
rect 435 -58 441 -24
rect 475 -58 481 -24
rect 435 -96 481 -58
rect 435 -130 441 -96
rect 475 -130 481 -96
rect 435 -169 481 -130
rect -425 -207 -33 -201
rect -425 -241 -390 -207
rect -356 -241 -318 -207
rect -284 -241 -246 -207
rect -212 -241 -174 -207
rect -140 -241 -102 -207
rect -68 -241 -33 -207
rect -425 -247 -33 -241
rect 33 -207 425 -201
rect 33 -241 68 -207
rect 102 -241 140 -207
rect 174 -241 212 -207
rect 246 -241 284 -207
rect 318 -241 356 -207
rect 390 -241 425 -207
rect 33 -247 425 -241
rect -481 -364 -435 -325
rect -481 -398 -475 -364
rect -441 -398 -435 -364
rect -481 -436 -435 -398
rect -481 -470 -475 -436
rect -441 -470 -435 -436
rect -481 -508 -435 -470
rect -481 -542 -475 -508
rect -441 -542 -435 -508
rect -481 -580 -435 -542
rect -481 -614 -475 -580
rect -441 -614 -435 -580
rect -481 -652 -435 -614
rect -481 -686 -475 -652
rect -441 -686 -435 -652
rect -481 -725 -435 -686
rect -23 -364 23 -325
rect -23 -398 -17 -364
rect 17 -398 23 -364
rect -23 -436 23 -398
rect -23 -470 -17 -436
rect 17 -470 23 -436
rect -23 -508 23 -470
rect -23 -542 -17 -508
rect 17 -542 23 -508
rect -23 -580 23 -542
rect -23 -614 -17 -580
rect 17 -614 23 -580
rect -23 -652 23 -614
rect -23 -686 -17 -652
rect 17 -686 23 -652
rect -23 -725 23 -686
rect 435 -364 481 -325
rect 435 -398 441 -364
rect 475 -398 481 -364
rect 435 -436 481 -398
rect 435 -470 441 -436
rect 475 -470 481 -436
rect 435 -508 481 -470
rect 435 -542 441 -508
rect 475 -542 481 -508
rect 435 -580 481 -542
rect 435 -614 441 -580
rect 475 -614 481 -580
rect 435 -652 481 -614
rect 435 -686 441 -652
rect 475 -686 481 -652
rect 435 -725 481 -686
rect -425 -763 -33 -757
rect -425 -797 -390 -763
rect -356 -797 -318 -763
rect -284 -797 -246 -763
rect -212 -797 -174 -763
rect -140 -797 -102 -763
rect -68 -797 -33 -763
rect -425 -803 -33 -797
rect 33 -763 425 -757
rect 33 -797 68 -763
rect 102 -797 140 -763
rect 174 -797 212 -763
rect 246 -797 284 -763
rect 318 -797 356 -763
rect 390 -797 425 -763
rect 33 -803 425 -797
rect -481 -920 -435 -881
rect -481 -954 -475 -920
rect -441 -954 -435 -920
rect -481 -992 -435 -954
rect -481 -1026 -475 -992
rect -441 -1026 -435 -992
rect -481 -1064 -435 -1026
rect -481 -1098 -475 -1064
rect -441 -1098 -435 -1064
rect -481 -1136 -435 -1098
rect -481 -1170 -475 -1136
rect -441 -1170 -435 -1136
rect -481 -1208 -435 -1170
rect -481 -1242 -475 -1208
rect -441 -1242 -435 -1208
rect -481 -1281 -435 -1242
rect -23 -920 23 -881
rect -23 -954 -17 -920
rect 17 -954 23 -920
rect -23 -992 23 -954
rect -23 -1026 -17 -992
rect 17 -1026 23 -992
rect -23 -1064 23 -1026
rect -23 -1098 -17 -1064
rect 17 -1098 23 -1064
rect -23 -1136 23 -1098
rect -23 -1170 -17 -1136
rect 17 -1170 23 -1136
rect -23 -1208 23 -1170
rect -23 -1242 -17 -1208
rect 17 -1242 23 -1208
rect -23 -1281 23 -1242
rect 435 -920 481 -881
rect 435 -954 441 -920
rect 475 -954 481 -920
rect 435 -992 481 -954
rect 435 -1026 441 -992
rect 475 -1026 481 -992
rect 435 -1064 481 -1026
rect 435 -1098 441 -1064
rect 475 -1098 481 -1064
rect 435 -1136 481 -1098
rect 435 -1170 441 -1136
rect 475 -1170 481 -1136
rect 435 -1208 481 -1170
rect 435 -1242 441 -1208
rect 475 -1242 481 -1208
rect 435 -1281 481 -1242
rect -425 -1319 -33 -1313
rect -425 -1353 -390 -1319
rect -356 -1353 -318 -1319
rect -284 -1353 -246 -1319
rect -212 -1353 -174 -1319
rect -140 -1353 -102 -1319
rect -68 -1353 -33 -1319
rect -425 -1359 -33 -1353
rect 33 -1319 425 -1313
rect 33 -1353 68 -1319
rect 102 -1353 140 -1319
rect 174 -1353 212 -1319
rect 246 -1353 284 -1319
rect 318 -1353 356 -1319
rect 390 -1353 425 -1319
rect 33 -1359 425 -1353
<< properties >>
string FIXED_BBOX -572 -1438 572 1438
<< end >>
